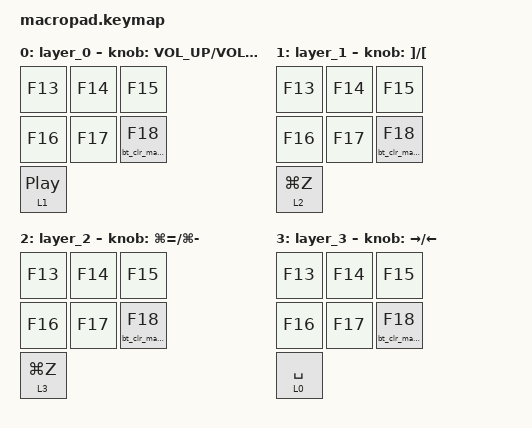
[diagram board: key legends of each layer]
#include <behaviors.dtsi>
#include <dt-bindings/zmk/keys.h>
#include <dt-bindings/zmk/bt.h>

/ {
    macros {
        // BT_CLR 호출을 위한 1인자 매크로 (기존 검증된 매크로 유지)
        bt_clr_macro: bt_clr_macro {
            compatible = "zmk,behavior-macro-one-param";
            #binding-cells = <1>;
            bindings = <&bt BT_CLR>;
        };
    };

    behaviors {
        // 노브 전용: 1.5초(1500ms) 홀드 -> 다음 레이어로 순환 전환 / 살짝 탭 -> 키 입력
        ht_to: hold_tap_to {
            compatible = "zmk,behavior-hold-tap";
            label = "HT_TO";
            #binding-cells = <2>;
            flavor = "hold-preferred";
            tapping-term-ms = <1500>;
            bindings = <&to>, <&kp>;
        };

        // 6번 스위치 전용: 5초(5000ms) 홀드 -> 블루투스 초기화 / 살짝 탭 -> F18 입력
        ht_bt: hold_tap_bt {
            compatible = "zmk,behavior-hold-tap";
            label = "HT_BT";
            #binding-cells = <2>;
            flavor = "hold-preferred";
            tapping-term-ms = <5000>;
            bindings = <&bt_clr_macro>, <&kp>;
        };
    };

    keymap {
        compatible = "zmk,keymap";

        // ==========================================
        // [레이어 0] Mac 기본 미디어 모드 (LED 0 점등)
        // ==========================================
        layer_0 {
            sensor-bindings = <&inc_dec_kp C_VOL_UP C_VOL_DN>;
            bindings = <
                &kp F13           &kp F14         &kp F15
                &kp F16           &kp F17         &ht_bt 0 F18
                &ht_to 1 C_PP
            >;
        };

        // ==========================================
        // [레이어 1] Mac 포토샵 모드 (LED 1 점등)
        // ==========================================
        layer_1 {
            sensor-bindings = <&inc_dec_kp RBKT LBKT>;
            bindings = <
                &kp F13           &kp F14         &kp F15
                &kp F16           &kp F17         &ht_bt 0 F18
                &ht_to 2 LG(Z)
            >;
        };

        // ==========================================
        // [레이어 2] Mac 일러스트레이터 모드 (LED 2 점등)
        // ==========================================
        layer_2 {
            sensor-bindings = <&inc_dec_kp LG(EQUAL) LG(MINUS)>;
            bindings = <
                &kp F13           &kp F14         &kp F15
                &kp F16           &kp F17         &ht_bt 0 F18
                &ht_to 3 LG(Z)
            >;
        };

        // ==========================================
        // [레이어 3] Mac 프리미어 프로 모드 (LED 3 점등)
        // ==========================================
        layer_3 {
            sensor-bindings = <&inc_dec_kp RIGHT LEFT>;
            bindings = <
                &kp F13           &kp F14         &kp F15
                &kp F16           &kp F17         &ht_bt 0 F18
                &ht_to 0 SPACE
            >;
        };
    };
};
